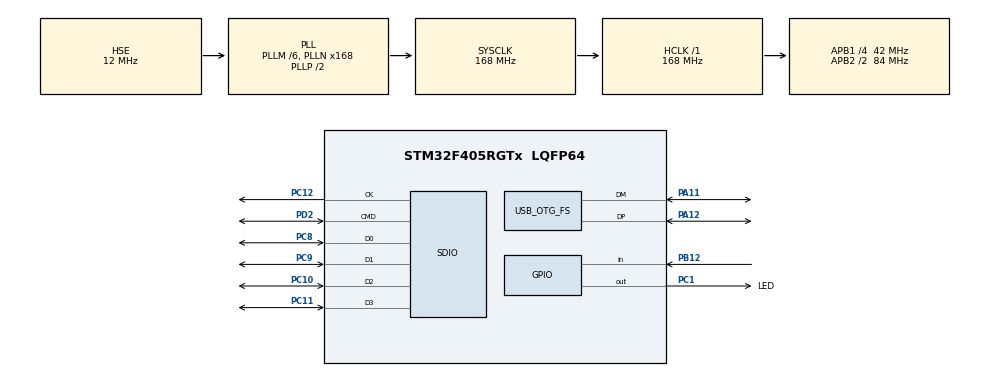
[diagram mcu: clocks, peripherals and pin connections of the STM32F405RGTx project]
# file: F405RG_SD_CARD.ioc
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Dma.Request0=SDIO_TX
Dma.Request1=SDIO_RX
Dma.SDIO_RX.1.Direction=DMA_PERIPH_TO_MEMORY
Dma.SDIO_RX.1.FIFOMode=DMA_FIFOMODE_ENABLE
Dma.SDIO_RX.1.FIFOThreshold=DMA_FIFO_THRESHOLD_FULL
Dma.SDIO_RX.1.Instance=DMA2_Stream6
Dma.SDIO_RX.1.MemBurst=DMA_MBURST_INC4
Dma.SDIO_RX.1.MemDataAlignment=DMA_MDATAALIGN_WORD
Dma.SDIO_RX.1.MemInc=DMA_MINC_ENABLE
Dma.SDIO_RX.1.Mode=DMA_PFCTRL
Dma.SDIO_RX.1.PeriphBurst=DMA_PBURST_INC4
Dma.SDIO_RX.1.PeriphDataAlignment=DMA_PDATAALIGN_WORD
Dma.SDIO_RX.1.PeriphInc=DMA_PINC_DISABLE
Dma.SDIO_RX.1.Priority=DMA_PRIORITY_LOW
Dma.SDIO_TX.0.Direction=DMA_MEMORY_TO_PERIPH
Dma.SDIO_TX.0.FIFOMode=DMA_FIFOMODE_ENABLE
Dma.SDIO_TX.0.FIFOThreshold=DMA_FIFO_THRESHOLD_FULL
Dma.SDIO_TX.0.Instance=DMA2_Stream3
Dma.SDIO_TX.0.MemBurst=DMA_MBURST_INC4
Dma.SDIO_TX.0.MemDataAlignment=DMA_MDATAALIGN_WORD
Dma.SDIO_TX.0.MemInc=DMA_MINC_ENABLE
Dma.SDIO_TX.0.Mode=DMA_PFCTRL
Dma.SDIO_TX.0.PeriphBurst=DMA_PBURST_INC4
Dma.SDIO_TX.0.PeriphDataAlignment=DMA_PDATAALIGN_WORD
Dma.SDIO_TX.0.PeriphInc=DMA_PINC_DISABLE
Dma.SDIO_TX.0.Priority=DMA_PRIORITY_LOW
FATFS.BSP.number=1
FATFS.USE_DMA_CODE_SD=1
FATFS._FS_LOCK=5
FATFS._MAX_SS=4096
FATFS0.BSP.STBoard=false
FATFS0.BSP.api=Unknown
FATFS0.BSP.instance=PB12
FATFS0.BSP.ip=GPIO
FATFS0.BSP.mode=Input
FATFS0.BSP.name=Detect_SDIO
FATFS0.BSP.solution=PB12
Mcu.Family=STM32F4
Mcu.Name=STM32F405RGTx
Mcu.Package=LQFP64
NVIC.DMA2_Stream3_IRQn=true\:0\:0\:false\:false\:true\:false\:true\:true
NVIC.DMA2_Stream6_IRQn=true\:0\:0\:false\:false\:true\:false\:true\:true
NVIC.OTG_FS_IRQn=true\:0\:0\:false\:false\:true\:false\:true\:true
NVIC.PriorityGroup=NVIC_PRIORITYGROUP_4
NVIC.SDIO_IRQn=true\:0\:0\:false\:false\:true\:true\:true\:true
PA11.Mode=Device_Only
PA11.Signal=USB_OTG_FS_DM
PA12.Mode=Device_Only
PA12.Signal=USB_OTG_FS_DP
PA13.Mode=Serial_Wire
PA13.Signal=SYS_JTMS-SWDIO
PA14.Mode=Serial_Wire
PA14.Signal=SYS_JTCK-SWCLK
PB12.Signal=GPIO_Input
PC1.GPIO_Label=LED
PC1.Signal=GPIO_Output
PC10.GPIO_PuPd=GPIO_PULLUP
PC10.Mode=SD_4_bits_Wide_bus
PC10.Signal=SDIO_D2
PC11.Mode=SD_4_bits_Wide_bus
PC11.Signal=SDIO_D3
PC12.Mode=SD_4_bits_Wide_bus
PC12.Signal=SDIO_CK
PC8.GPIO_PuPd=GPIO_PULLUP
PC8.Mode=SD_4_bits_Wide_bus
PC8.Signal=SDIO_D0
PC9.GPIO_PuPd=GPIO_PULLUP
PC9.Mode=SD_4_bits_Wide_bus
PC9.Signal=SDIO_D1
PD2.GPIO_PuPd=GPIO_PULLUP
PD2.Mode=SD_4_bits_Wide_bus
PD2.Signal=SDIO_CMD
PH0-OSC_IN.Mode=HSE-External-Oscillator
PH0-OSC_IN.Signal=RCC_OSC_IN
PH1-OSC_OUT.Mode=HSE-External-Oscillator
PH1-OSC_OUT.Signal=RCC_OSC_OUT
ProjectManager.HeapSize=0x200
ProjectManager.StackSize=0x400
ProjectManager.TargetToolchain=STM32CubeIDE
RCC.48MHZClocksFreq_Value=48000000
RCC.AHBFreq_Value=168000000
RCC.APB1CLKDivider=RCC_HCLK_DIV4
RCC.APB1Freq_Value=42000000
RCC.APB1TimFreq_Value=84000000
RCC.APB2CLKDivider=RCC_HCLK_DIV2
RCC.APB2Freq_Value=84000000
RCC.APB2TimFreq_Value=168000000
RCC.CortexFreq_Value=168000000
RCC.HCLKFreq_Value=168000000
RCC.HSE_VALUE=12000000
RCC.HSI_VALUE=16000000
RCC.LSE_VALUE=32768
RCC.PLLM=6
RCC.PLLN=168
RCC.PLLQ=7
RCC.SYSCLKFreq_VALUE=168000000
RCC.SYSCLKSource=RCC_SYSCLKSOURCE_PLLCLK
RCC.VCOOutputFreq_Value=336000000
SDIO.ClockDiv=4
USB_DEVICE.CLASS_NAME_FS=CDC
USB_DEVICE.VirtualMode-CDC_FS=Cdc
USB_DEVICE.VirtualModeFS=Cdc_FS
USB_OTG_FS.VirtualMode=Device_Only
VP_FATFS_VS_SDIO.Mode=SDIO
VP_USB_DEVICE_VS_USB_DEVICE_CDC_FS.Mode=CDC_FS
board=custom

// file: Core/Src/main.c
/* USER CODE BEGIN Header */
/**
  ******************************************************************************
  * @file           : main.c
  * @brief          : Main program body
  ******************************************************************************
  * @attention
  *
  * Copyright (c) 2024 STMicroelectronics.
  * All rights reserved.
  *
  * This software is licensed under terms that can be found in the LICENSE file
  * in the root directory of this software component.
  * If no LICENSE file comes with this software, it is provided AS-IS.
  *
  ******************************************************************************
  */
/* USER CODE END Header */
#include "main.h"
#include "fatfs.h"
#include "usb_device.h"

/* USER CODE BEGIN Includes */
#include "string.h"
#include <stdio.h>
#include "usbd_cdc_if.h"

/* USER CODE END Includes */

/* USER CODE BEGIN PTD */
#include "string.h"
#include <stdio.h>
/* USER CODE END PTD */

/* USER CODE BEGIN PD */
FRESULT fresult;
char log_path[] = "/RAW.TXT";
char msg[] = "Hello SDIO!!\r\n";
UINT testByte;
FATFS fs;
FIL myFILE;
FATFS fs;
FATFS *pfs;
FIL fil;
DWORD fre_clust;
uint32_t total, free_space;
char buffer[1024];
UINT br,bw;
/* USER CODE END PD */

SD_HandleTypeDef hsd;
DMA_HandleTypeDef hdma_sdio_tx;
DMA_HandleTypeDef hdma_sdio_rx;

void SystemClock_Config(void);
static void MX_GPIO_Init(void);
static void MX_DMA_Init(void);
static void MX_SDIO_SD_Init(void);

/* USER CODE BEGIN 0 */
void send_CDC(char *string) {
    uint8_t len = strlen(string);
    CDC_Transmit_FS((uint8_t*)string, len);
}
/* to find the size of the buffer*/

int bufsize (char *buf){
	int i=0;
	while (*buf++ != '\0') i ++;
	return i;
}

void bufclear (void) {// clear buffer
for (int i = 0; i < 1024; i++) {
	buffer[i]='\0';
}
}
/* USER CODE END 0 */

int main(void)
{

  /* MCU Configuration--------------------------------------------------------*/

  /* Reset of all peripherals, Initializes the Flash interface and the Systick. */
  HAL_Init();

  /* Configure the system clock */
  SystemClock_Config();

  /* Initialize all configured peripherals */
  MX_GPIO_Init();
  MX_DMA_Init();
  MX_SDIO_SD_Init();
  MX_FATFS_Init();
  MX_USB_DEVICE_Init();
  /* USER CODE BEGIN 2 */
  if ( BSP_SD_Init() != MSD_OK ) {
       return FR_NOT_READY;
     }
     // Re-initialize FATFS
     if ( FATFS_UnLinkDriver(SDPath) != 0 ) {
       return FR_NOT_READY;
     }
     if ( FATFS_LinkDriver(&SD_Driver, SDPath) != 0 ) {
       return FR_NOT_READY;
     }
  fresult = f_mount(&fs, SDPath, 1);
  if (fresult != FR_OK) {
      // Handle SD card mount error
      f_mount(0, SDPath, 0);
      return fresult;
  }
  f_getfree(SDPath, &fre_clust, &pfs);
      	    if (fresult != FR_OK) {
      	    	send_CDC("SD card MOUNT FAILED...\r\n");
      	} else {

      	    /* Calculate total space only after mounting */
      	    total = (uint32_t)((pfs->n_fatent - 2) * pfs->csize * 0.5);

      	   /* Print total space */
      	    sprintf(buffer, "Total SD card space: %lu \r\n", total);
      	    send_CDC(buffer);
      	    bufclear();
      	}
      	  if (fresult != FR_OK) {
      		send_CDC("SD card MOUNT FAILED...\r\n");
      	  }else if(fresult == FR_OK){
      	   /* Calculate available space */
      	    free_space = (uint32_t)(fre_clust * pfs->csize * 0.5);

      	   /* Print available space */
      	    sprintf(buffer, "Available Space: %lu \r\n", free_space);
      	    send_CDC(buffer);
      	    bufclear();

      	  }
      	 //open a file to write, if it doesn't exist, it creates.
      	  fresult = f_open(&fil, "ADXL1_DATA.txt", FA_OPEN_ALWAYS | FA_READ | FA_WRITE);

      	  //Write the text
      	  fresult = f_puts("ADXL1_DATA HERE!\r\n", &fil);

      	  // close file
      	  fresult = f_close(&fil);
      	  send_CDC("ADXL1_DATA.txt created & data is written\r\n");

      	  //open the file to read
      	  fresult = f_open(&fil,"ADXL1_DATA.txt", FA_READ);

    	  // Read the text from the file
      	  f_gets(buffer,sizeof(buffer),&fil);

      	  send_CDC(buffer);

      	  //close file
      	  f_close(&fil);
      	  bufclear();

      	//opening another file
            	fresult = f_open(&fil, "ADXL2_DATA.txt", FA_OPEN_ALWAYS | FA_READ | FA_WRITE);

            	// using f_write to write inside this file
            	strcpy(buffer,"ADXL2_DATA WILL be stored here\r\n");

            	fresult = f_write(&fil, buffer,bufsize(buffer), &bw);

            	send_CDC("ADXL2_DATA data will be written here.\r\n");

            	//close file
            	f_close(&fil);

            	//clearing buffer to empty it before reading data
             	bufclear();

            	// open 2nd file to read
            	fresult = f_open(&fil,"ADXL2_DATA.txt", FA_READ);
            	f_read(&fil, buffer, sizeof(buffer), &br);
            	send_CDC(buffer);

            	//Close file
            	f_close(&fil);
            	bufclear();

            	// Update a file
            	fresult = f_open(&fil, "ADXL2_DATA.txt", FA_OPEN_ALWAYS | FA_READ | FA_WRITE);
            	// Move offset toward the end of the line using the size of the file
            	fresult = f_lseek(&fil, f_size(&fil));

            	fresult= f_puts("UPDATE 1 to ADXL2_DATA",&fil);

            	//close file
            	f_close(&fil);
            	bufclear();
            	fresult = f_open(&fil,"ADXL2_DATA.txt", FA_READ);

              f_read(&fil, buffer, sizeof(buffer), &br);

            	send_CDC(buffer);

            	 //Close file
            	 f_close(&fil);
            	 bufclear();
  /* USER CODE END 2 */

  /* Infinite loop */
  while (1)
  {

  }
}

void SystemClock_Config(void)
{
  RCC_OscInitTypeDef RCC_OscInitStruct = {0};
  RCC_ClkInitTypeDef RCC_ClkInitStruct = {0};

  /** Configure the main internal regulator output voltage
  */
  __HAL_RCC_PWR_CLK_ENABLE();
  __HAL_PWR_VOLTAGESCALING_CONFIG(PWR_REGULATOR_VOLTAGE_SCALE1);

  /** Initializes the RCC Oscillators according to the specified parameters
  * in the RCC_OscInitTypeDef structure.
  */
  RCC_OscInitStruct.OscillatorType = RCC_OSCILLATORTYPE_HSE;
  RCC_OscInitStruct.HSEState = RCC_HSE_ON;
  RCC_OscInitStruct.PLL.PLLState = RCC_PLL_ON;
  RCC_OscInitStruct.PLL.PLLSource = RCC_PLLSOURCE_HSE;
  RCC_OscInitStruct.PLL.PLLM = 6;
  RCC_OscInitStruct.PLL.PLLN = 168;
  RCC_OscInitStruct.PLL.PLLP = RCC_PLLP_DIV2;
  RCC_OscInitStruct.PLL.PLLQ = 7;
  if (HAL_RCC_OscConfig(&RCC_OscInitStruct) != HAL_OK)
  {
    Error_Handler();
  }

  /** Initializes the CPU, AHB and APB buses clocks
  */
  RCC_ClkInitStruct.ClockType = RCC_CLOCKTYPE_HCLK|RCC_CLOCKTYPE_SYSCLK
                              |RCC_CLOCKTYPE_PCLK1|RCC_CLOCKTYPE_PCLK2;
  RCC_ClkInitStruct.SYSCLKSource = RCC_SYSCLKSOURCE_PLLCLK;
  RCC_ClkInitStruct.AHBCLKDivider = RCC_SYSCLK_DIV1;
  RCC_ClkInitStruct.APB1CLKDivider = RCC_HCLK_DIV4;
  RCC_ClkInitStruct.APB2CLKDivider = RCC_HCLK_DIV2;

  if (HAL_RCC_ClockConfig(&RCC_ClkInitStruct, FLASH_LATENCY_5) != HAL_OK)
  {
    Error_Handler();
  }
}

static void MX_SDIO_SD_Init(void)
{

  hsd.Instance = SDIO;
  hsd.Init.ClockEdge = SDIO_CLOCK_EDGE_RISING;
  hsd.Init.ClockBypass = SDIO_CLOCK_BYPASS_DISABLE;
  hsd.Init.ClockPowerSave = SDIO_CLOCK_POWER_SAVE_DISABLE;
  hsd.Init.BusWide = SDIO_BUS_WIDE_4B;
  hsd.Init.HardwareFlowControl = SDIO_HARDWARE_FLOW_CONTROL_DISABLE;
  hsd.Init.ClockDiv = 4;

}

static void MX_DMA_Init(void)
{

  /* DMA controller clock enable */
  __HAL_RCC_DMA2_CLK_ENABLE();

  /* DMA interrupt init */
  /* DMA2_Stream3_IRQn interrupt configuration */
  HAL_NVIC_SetPriority(DMA2_Stream3_IRQn, 0, 0);
  HAL_NVIC_EnableIRQ(DMA2_Stream3_IRQn);
  /* DMA2_Stream6_IRQn interrupt configuration */
  HAL_NVIC_SetPriority(DMA2_Stream6_IRQn, 0, 0);
  HAL_NVIC_EnableIRQ(DMA2_Stream6_IRQn);

}

static void MX_GPIO_Init(void)
{
  GPIO_InitTypeDef GPIO_InitStruct = {0};

  /* GPIO Ports Clock Enable */
  __HAL_RCC_GPIOH_CLK_ENABLE();
  __HAL_RCC_GPIOC_CLK_ENABLE();
  __HAL_RCC_GPIOB_CLK_ENABLE();
  __HAL_RCC_GPIOA_CLK_ENABLE();
  __HAL_RCC_GPIOD_CLK_ENABLE();

  /*Configure GPIO pin Output Level */
  HAL_GPIO_WritePin(LED_GPIO_Port, LED_Pin, GPIO_PIN_RESET);

  /*Configure GPIO pin : LED_Pin */
  GPIO_InitStruct.Pin = LED_Pin;
  GPIO_InitStruct.Mode = GPIO_MODE_OUTPUT_PP;
  GPIO_InitStruct.Pull = GPIO_NOPULL;
  GPIO_InitStruct.Speed = GPIO_SPEED_FREQ_LOW;
  HAL_GPIO_Init(LED_GPIO_Port, &GPIO_InitStruct);

  /*Configure GPIO pin : PB12 */
  GPIO_InitStruct.Pin = GPIO_PIN_12;
  GPIO_InitStruct.Mode = GPIO_MODE_INPUT;
  GPIO_InitStruct.Pull = GPIO_NOPULL;
  HAL_GPIO_Init(GPIOB, &GPIO_InitStruct);

}

void Error_Handler(void)
{
  __disable_irq();
  while (1)
  {
  }
}
